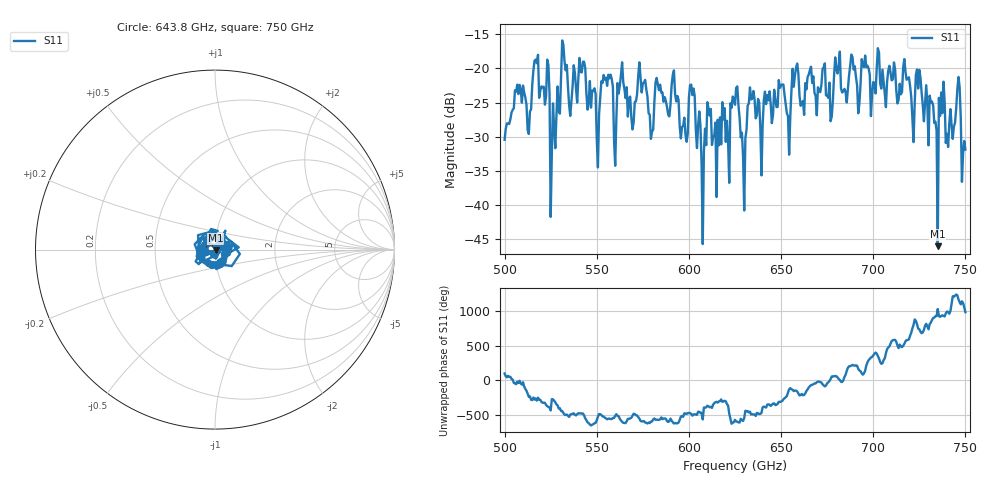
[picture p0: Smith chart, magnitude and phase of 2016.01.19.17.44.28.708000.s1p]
!Created with skrf (http://scikit-rf.org).
# GHz S RI R 50.0
!freq ReS11 ImS11
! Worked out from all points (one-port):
!   401 points, 500 GHz to 750 GHz, reference 50 ohm
!   lowest |S11| = -46.0 dB at 735 GHz (marker M1), VSWR 1.01, Z = 50.3 - j0.407 ohm
!   |S11| at or under -10 dB: start of sweep to end of sweep
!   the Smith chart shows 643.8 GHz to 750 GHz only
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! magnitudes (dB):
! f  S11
! 500 GHz  -30.4
! 506.9 GHz  -22.4
! 513.1 GHz  -29.6
! 516.9 GHz  -18.7
! 523.1 GHz  -18.7
! 526.2 GHz  -25.1
! 531.2 GHz  -15.9
! 550.6 GHz  -34.5
! 556.2 GHz  -20.9
! 560.6 GHz  -27.5
! 562.5 GHz  -22.5
! 579.4 GHz  -30.3
! 593.8 GHz  -24.0
! 598.1 GHz  -29.7
! 601.9 GHz  -23.9
! 608.1 GHz  -32.2
! 610.6 GHz  -25.9
! 620.6 GHz  -27.7
! 625 GHz  -25.3
! 629.4 GHz  -32.8
! 633.8 GHz  -24.5
! 656.2 GHz  -20.0
! 687.5 GHz  -19.6
! 718.8 GHz  -21.5
! 735 GHz  -46.0
! 736.9 GHz  -23.5
! 746.2 GHz  -21.2
! 750 GHz  -31.9
